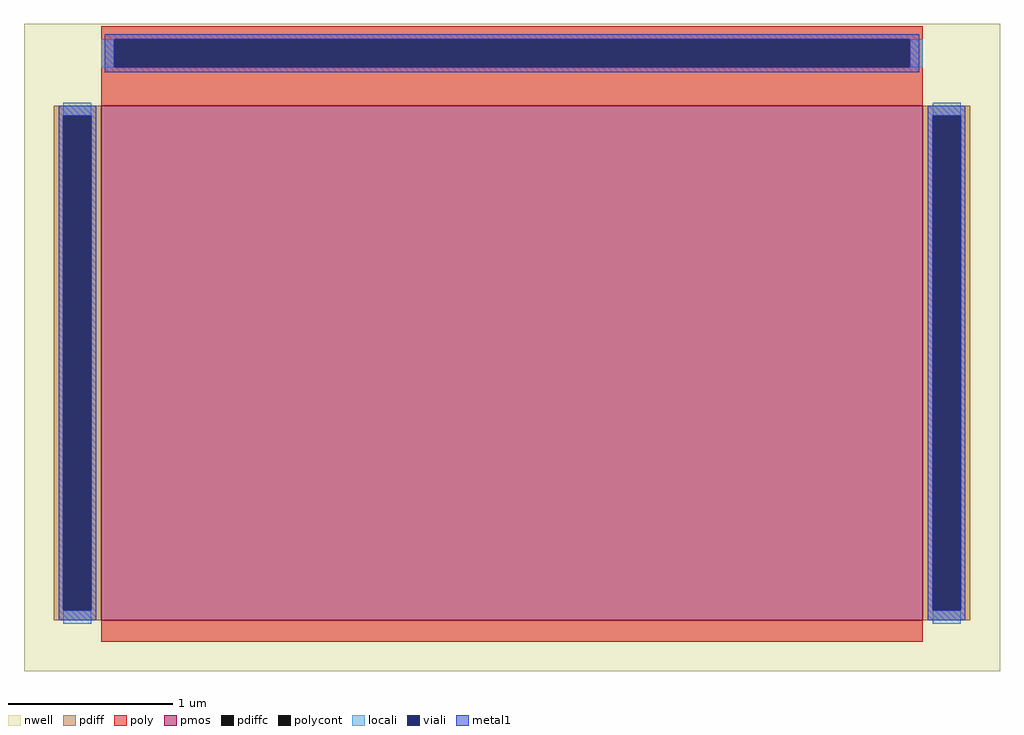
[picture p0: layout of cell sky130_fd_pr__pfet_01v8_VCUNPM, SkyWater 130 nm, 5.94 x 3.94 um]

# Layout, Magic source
magic
tech sky130A
magscale 1 2
<< nwell >>
rect -594 -411 594 377
<< pmos >>
rect -500 -349 500 277
<< pdiff >>
rect -558 265 -500 277
rect -558 -337 -546 265
rect -512 -337 -500 265
rect -558 -349 -500 -337
rect 500 265 558 277
rect 500 -337 512 265
rect 546 -337 558 265
rect 500 -349 558 -337
<< pdiffc >>
rect -546 -337 -512 265
rect 512 -337 546 265
<< poly >>
rect -500 358 500 374
rect -500 324 -484 358
rect 484 324 500 358
rect -500 277 500 324
rect -500 -375 500 -349
<< polycont >>
rect -484 324 484 358
<< locali >>
rect -500 324 -484 358
rect 484 324 500 358
rect -546 265 -512 281
rect -546 -353 -512 -337
rect 512 265 546 281
rect 512 -353 546 -337
<< viali >>
rect -484 324 484 358
rect -546 -337 -512 265
rect 512 -337 546 265
<< metal1 >>
rect -496 358 496 364
rect -496 324 -484 358
rect 484 324 496 358
rect -496 318 496 324
rect -552 265 -506 277
rect -552 -337 -546 265
rect -512 -337 -506 265
rect -552 -349 -506 -337
rect 506 265 552 277
rect 506 -337 512 265
rect 546 -337 552 265
rect 506 -349 552 -337
<< properties >>
string gencell sky130_fd_pr__pfet_01v8
string library sky130
string parameters w 3.1275 l 5.0 m 1 nf 1 diffcov 100 polycov 100 guard 0 glc 1 grc 1 gtc 1 gbc 1 tbcov 100 rlcov 100 topc 1 botc 0 poverlap 0 doverlap 1 lmin 0.15 wmin 0.42 class mosfet compatible {sky130_fd_pr__pfet_01v8  sky130_fd_pr__pfet_01v8_lvt sky130_fd_pr__pfet_01v8_hvt  sky130_fd_pr__pfet_g5v0d10v5} full_metal 1 viasrc 100 viadrn 100 viagate 100 viagb 0 viagr 0 viagl 0 viagt 0
<< end >>
